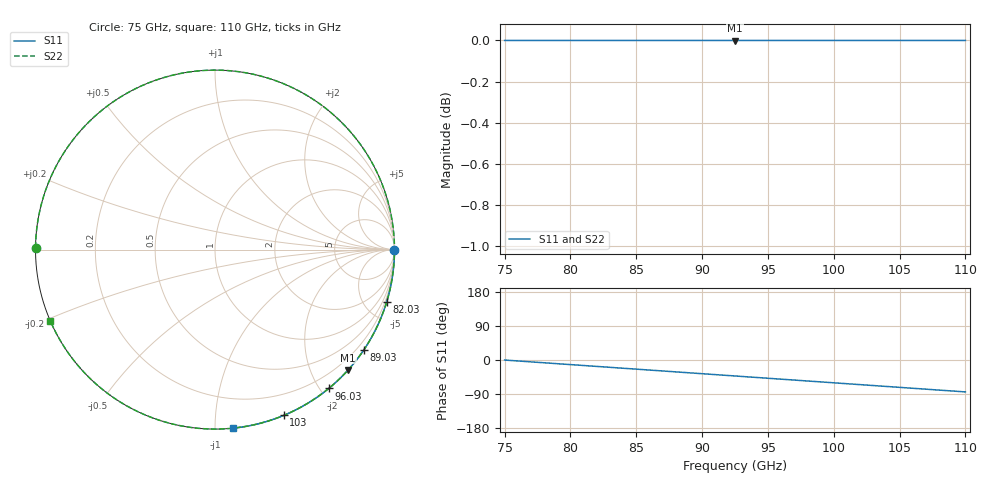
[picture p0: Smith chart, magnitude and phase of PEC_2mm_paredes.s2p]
! TOUCHSTONE file generated by CST MICROWAVE STUDIO
! Date and time: Mon Feb  5 14:07:18 2024
! Project name: metal_paredes.cst
! Header version: 2018
! Port assignment regex: !\s*Touchstone port\s*([0-9]+)\s*=\s*(CST MWS port|CST DS port)\s*([0-9]+|Zmin|Zmax)\s*\(\"(.*)\"\)(\s*mode\s*([0-9]+))?.*
! Touchstone port assignment:
! Touchstone port 1 = CST MWS port 1 ("")
! Touchstone port 2 = CST MWS port 2 ("")
# GHz S MA R 376.7
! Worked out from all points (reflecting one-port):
!   1001 points, 75 GHz to 110 GHz, reference 376.7 ohm
!   lowest |S11| = 0.0 dB at 92.5 GHz (marker M1)
!   phase of S11 starts at -0 deg and turns -84 deg over the sweep
!   S11 on the Smith chart (normalised r, x): 75 GHz: open; 82.03 GHz: 0.00, -6.69; 89.03 GHz: 0.00, -3.29; 96.03 GHz: -0.00, -2.11; 103 GHz: 0.00, -1.50; 110 GHz: -0.00, -1.11
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75  1 -0.1  0 0.0  0 0.0  0.9996 179.4
76.4  1 -3.5  3.699e-65 -180.0  3.699e-65 -180.0  1 165.9
77.8  1 -6.8  3.4e-65 -180.0  3.4e-65 -180.0  1 152.5
79.27  1 -10.4  3.1e-65 -180.0  3.1e-65 -180.0  1 138.4
80.845  1 -14.2  2.7e-65 -180.0  2.7e-65 -180.0  1 123.3
82.035  1 -17.0  2.4e-65 -180.0  2.4e-65 -180.0  1 111.8
84.345  1 -22.6  1.8e-65 -180.0  1.8e-65 -180.0  1 89.7
85.5  1 -25.3  1.5e-65 -180.0  1.5e-65 -180.0  1 78.6
86.69  1 -28.2  1.3e-65 -180.0  1.3e-65 -180.0  1 67.1
89.035  1 -33.8  7e-66 -180.0  7e-66 -180.0  1 44.6
90.82  1 -38.1  4e-66 -180.0  4e-66 -180.0  1 27.5
92.5  0.9999 -42.2  0 0.0  0 0.0  1 11.3
94.25  1 -46.4  5e-66 0.0  5e-66 0.0  1 -5.5
96.035  1 -50.6  8.001e-66 -0.0  8.001e-66 -0.0  1 -22.7
98.345  1 -56.2  1.3e-65 -0.0  1.3e-65 -0.0  1 -44.9
100.76  1 -62.0  1.8e-65 -0.0  1.8e-65 -0.0  1 -68.1
103.035  1 -67.5  2.4e-65 -0.0  2.4e-65 -0.0  1 -89.9
104.19  1 -70.2  2.6e-65 -0.0  2.6e-65 -0.0  1 -101.0
105.485  1 -73.4  2.9e-65 -0.0  2.9e-65 -0.0  1 -113.4
106.85  1 -76.6  3.3e-65 -0.0  3.3e-65 -0.0  0.9999 -126.5
108.53  1 -80.7  3.7e-65 -0.0  3.7e-65 -0.0  1 -142.6
110  1 -84.2  0 0.0  0 0.0  1 -156.7
